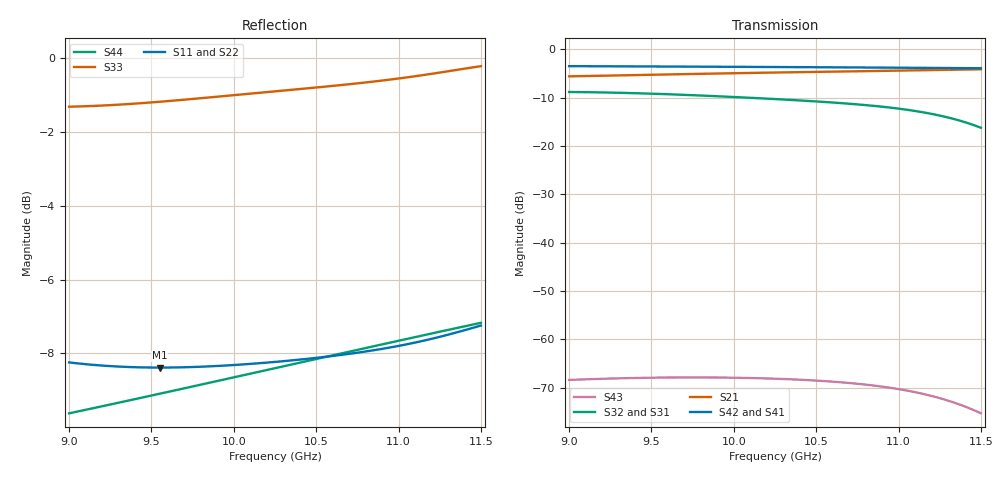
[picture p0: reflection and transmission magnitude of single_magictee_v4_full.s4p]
! Generated from PyAEDT SolutionData; AEDT ExportNetworkData workaround
# GHz S MA R 50
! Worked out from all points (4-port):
!   101 points, 9 GHz to 11.5 GHz, reference 50 ohm
!   strongest paths, dB at 9 GHz, 9.625 GHz, 10.25 GHz, 10.88 GHz, 11.5 GHz:
!     S42: -3.5, -3.6, -3.7, -3.8, -3.9
!     S41: -3.5, -3.6, -3.7, -3.8, -3.9
!     S21: -5.6, -5.2, -4.8, -4.5, -4.2
!     S32: -8.9, -9.3, -10.3, -11.8, -16.2
!     S31: -8.9, -9.4, -10.3, -11.8, -16.3
!     S43: -68.4, -67.9, -68.2, -69.7, -75.3
!   lowest |S11| = -8.4 dB at 9.55 GHz (marker M1), VSWR 2.23, Z = 49.5 + j41 ohm
!   |S11| at or under -10 dB: nowhere
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9  0.3871 130.8  0.5241 169.7  0.3607 -88.6  0.6673 48.3
   0.5241 169.7  0.3866 130.7  0.3609 -88.6  0.6676 -131.7
   0.3607 -88.6  0.3609 -88.6  0.86 -150.4  0.0003799 -41.3
   0.6673 48.3  0.6676 -131.7  0.0003799 -41.3  0.3303 -120.5
9.55  0.381 68.3  0.546 108.0  0.3443 177.1  0.662 -13.4
      0.546 108.0  0.3804 68.2  0.3444 177.2  0.6622 166.6
      0.3443 177.1  0.3444 177.2  0.8734 82.5  0.0004015 -139.5
      0.662 -13.4  0.6622 166.6  0.0004015 -139.5  0.3511 -178.7
9.925  0.3831 26.6  0.5614 66.9  0.3246 114.4  0.6578 -53.9
       0.5614 66.9  0.3826 26.5  0.3247 114.4  0.6581 126.1
       0.3246 114.4  0.3247 114.4  0.8884 -1.9  0.0004019 154.2
       0.6578 -53.9  0.6581 126.1  0.0004019 154.2  0.3664 142.7
10.275  0.3882 -12.1  0.5746 29.1  0.3033 56.3  0.6536 -90.8
        0.5746 29.1  0.3878 -12.2  0.3034 56.3  0.6538 89.2
        0.3033 56.3  0.3034 56.3  0.9033 -80.0  0.0003898 92.5
        0.6536 -90.8  0.6538 89.2  0.0003898 92.5  0.3813 107.1
10.725  0.3983 -61.4  0.5905 -18.8  0.2707 -19.9  0.6476 -137.3
        0.5905 -18.8  0.3981 -61.5  0.2708 -19.8  0.6477 42.7
        0.2707 -19.9  0.2708 -19.8  0.9238 176.1  0.00035 11.8
        0.6476 -137.3  0.6477 42.7  0.00035 11.8  0.4014 62.0
11.1  0.4119 -102.2  0.6044 -58.4  0.2296 -87.3  0.6421 -175.4
      0.6044 -58.4  0.4119 -102.2  0.2297 -87.2  0.6421 4.5
      0.2296 -87.3  0.2297 -87.2  0.9458 81.5  0.000284 -59.0
      0.6421 -175.4  0.6421 4.5  0.000284 -59.0  0.4189 24.7
11.5  0.4343 -146.0  0.6193 -100.9  0.154 -165.2  0.6357 144.3
      0.6193 -100.9  0.4345 -146.0  0.154 -165.1  0.6356 -35.7
      0.154 -165.2  0.154 -165.1  0.976 -31.0  0.0001716 -141.6
      0.6357 144.3  0.6356 -35.7  0.0001716 -141.6  0.4381 -15.0
